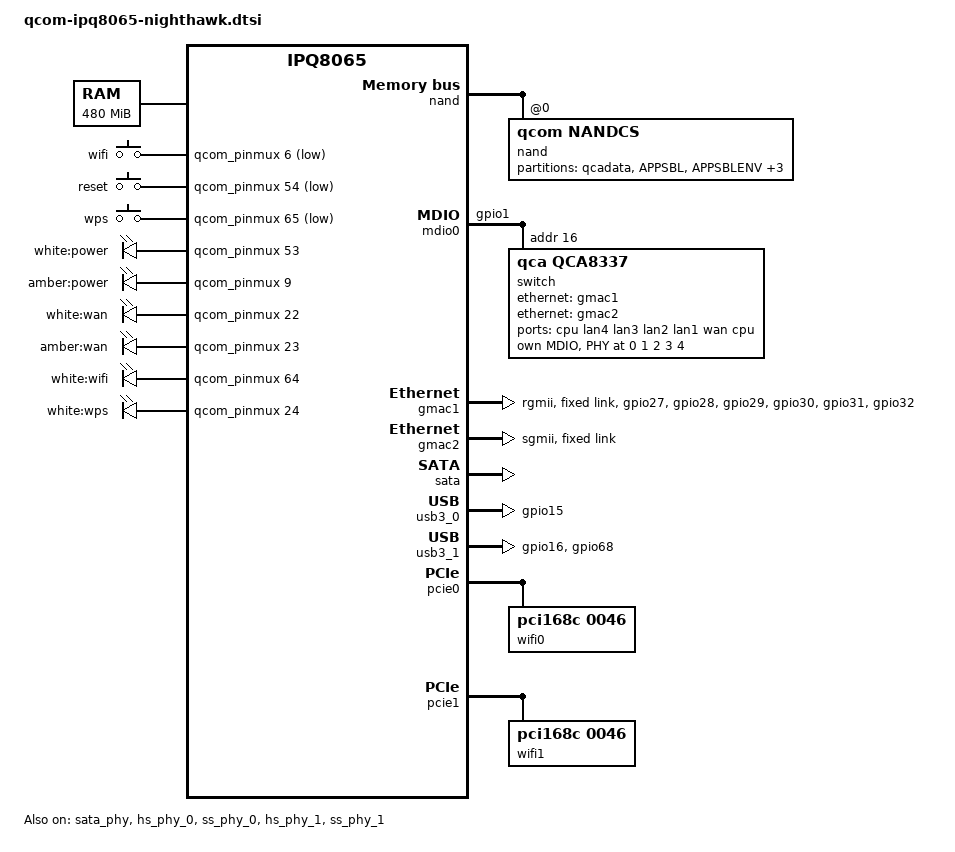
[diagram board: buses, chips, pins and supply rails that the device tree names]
#include "qcom-ipq8065-smb208.dtsi"

#include <dt-bindings/input/input.h>

/ {
	memory@0 {
		reg = <0x42000000 0x1e000000>;
		device_type = "memory";
	};

	reserved-memory {
		rsvd@5fe00000 {
			reg = <0x5fe00000 0x200000>;
			reusable;
		};

		ramoops@42100000 {
			compatible = "ramoops";
			reg = <0x42100000 0x40000>;
			record-size = <0x4000>;
			console-size = <0x4000>;
			ftrace-size = <0x4000>;
			pmsg-size = <0x4000>;
		};
	};

	aliases {
		label-mac-device = &gmac2;

		led-boot = &power_white;
		led-failsafe = &power_amber;
		led-running = &power_white;
		led-upgrade = &power_amber;

		mdio-gpio0 = &mdio0;
	};

	keys {
		compatible = "gpio-keys";
		pinctrl-0 = <&button_pins>;
		pinctrl-names = "default";

		wifi {
			label = "wifi";
			gpios = <&qcom_pinmux 6 GPIO_ACTIVE_LOW>;
			linux,code = <KEY_RFKILL>;
			debounce-interval = <60>;
			wakeup-source;
		};

		reset {
			label = "reset";
			gpios = <&qcom_pinmux 54 GPIO_ACTIVE_LOW>;
			linux,code = <KEY_RESTART>;
			debounce-interval = <60>;
			wakeup-source;
		};

		wps {
			label = "wps";
			gpios = <&qcom_pinmux 65 GPIO_ACTIVE_LOW>;
			linux,code = <KEY_WPS_BUTTON>;
			debounce-interval = <60>;
			wakeup-source;
		};
	};

	leds: leds {
		compatible = "gpio-leds";
		pinctrl-0 = <&led_pins>;
		pinctrl-names = "default";

		power_white: power_white {
			label = "white:power";
			gpios = <&qcom_pinmux 53 GPIO_ACTIVE_HIGH>;
			default-state = "keep";
		};

		power_amber: power_amber {
			label = "amber:power";
			gpios = <&qcom_pinmux 9 GPIO_ACTIVE_HIGH>;
		};

		wan_white {
			label = "white:wan";
			gpios = <&qcom_pinmux 22 GPIO_ACTIVE_HIGH>;
		};

		wan_amber {
			label = "amber:wan";
			gpios = <&qcom_pinmux 23 GPIO_ACTIVE_HIGH>;
		};

		wifi {
			label = "white:wifi";
			gpios = <&qcom_pinmux 64 GPIO_ACTIVE_HIGH>;
		};

		wps {
			label = "white:wps";
			gpios = <&qcom_pinmux 24 GPIO_ACTIVE_HIGH>;
		};
	};
};

&qcom_pinmux {
	button_pins: button_pins {
		mux {
			pins = "gpio6", "gpio54", "gpio65";
			function = "gpio";
			drive-strength = <2>;
			bias-pull-up;
		};
	};

	led_pins: led_pins {
		mux {
			pins = "gpio7", "gpio8", "gpio9",
				"gpio22", "gpio23", "gpio24",
				"gpio26", "gpio53", "gpio64";
			function = "gpio";
			drive-strength = <2>;
			bias-pull-down;
		};
	};

	mdio0_pins: mdio0-pins {
		clk {
			pins = "gpio1";
			input-disable;
		};
	};

	rgmii2_pins: rgmii2-pins {
		tx {
			pins = "gpio27", "gpio28", "gpio29",
				"gpio30", "gpio31", "gpio32";
			input-disable;
		};
	};

	spi_pins: spi_pins {
		mux {
			pins = "gpio18", "gpio19", "gpio21";
			function = "gsbi5";
			bias-pull-down;
		};

		data {
			pins = "gpio18", "gpio19";
			drive-strength = <10>;
		};

		cs {
			pins = "gpio20";
			drive-strength = <10>;
			bias-pull-up;
		};

		clk {
			pins = "gpio21";
			drive-strength = <12>;
		};
	};

	spi6_pins: spi6_pins {
		mux {
			pins = "gpio55", "gpio56", "gpio58";
			function = "gsbi6";
			bias-pull-down;
		};

		mosi {
			pins = "gpio55";
			drive-strength = <12>;
		};

		miso {
			pins = "gpio56";
			drive-strength = <14>;
		};

		cs {
			pins = "gpio57";
			drive-strength = <12>;
			bias-pull-up;
		};

		clk {
			pins = "gpio58";
			drive-strength = <12>;
		};

		reset {
			pins = "gpio33";
			drive-strength = <10>;
			bias-pull-down;
			output-high;
		};
	};

	usb0_pwr_en_pins: usb0_pwr_en_pins {
		mux {
			pins = "gpio15";
			function = "gpio";
			drive-strength = <12>;
			bias-pull-down;
			output-high;
		};
	};

	usb1_pwr_en_pins: usb1_pwr_en_pins {
		mux {
			pins = "gpio16", "gpio68";
			function = "gpio";
			drive-strength = <12>;
			bias-pull-down;
			output-high;
		};
	};
};

&nand {
	status = "okay";

	nand@0 {
		reg = <0>;
		compatible = "qcom,nandcs";

		nand-ecc-strength = <4>;
		nand-bus-width = <8>;
		nand-ecc-step-size = <512>;

		nand-is-boot-medium;
		qcom,boot-partitions = <0x0 0x1180000>;

		partitions: partitions {
			compatible = "fixed-partitions";
			#address-cells = <1>;
			#size-cells = <1>;

			partition@0 {
				label = "qcadata";
				reg = <0x0000000 0x0c80000>;
				read-only;
			};

			partition@c80000 {
				label = "APPSBL";
				reg = <0x0c80000 0x0500000>;
				read-only;
			};

			partition@1180000 {
				label = "APPSBLENV";
				reg = <0x1180000 0x0080000>;
				read-only;
			};

			art: partition@1200000 {
				label = "art";
				reg = <0x1200000 0x0140000>;
				read-only;

				nvmem-layout {
					compatible = "fixed-layout";
					#address-cells = <1>;
					#size-cells = <1>;

					macaddr_art_0: macaddr@0 {
						reg = <0x0 0x6>;
					};

					macaddr_art_6: macaddr@6 {
						compatible = "mac-base";
						reg = <0x6 0x6>;
						#nvmem-cell-cells = <1>;
					};

					macaddr_art_c: macaddr@c {
						reg = <0xc 0x6>;
					};

					precal_art_1000: precal@1000 {
						reg = <0x1000 0x2f20>;
					};

					precal_art_5000: precal@5000 {
						reg = <0x5000 0x2f20>;
					};
				};
			};

			partition@1340000 {
				label = "artbak";
				reg = <0x1340000 0x0140000>;
				read-only;
			};

			partition@1480000 {
				label = "kernel";
				reg = <0x1480000 0x0400000>;
			};
		};
	};
};

&mdio0 {
	status = "okay";

	pinctrl-0 = <&mdio0_pins>;
	pinctrl-names = "default";

	switch@10 {
		compatible = "qca,qca8337";
		#address-cells = <1>;
		#size-cells = <0>;
		reg = <0x10>;

		ports {
			#address-cells = <1>;
			#size-cells = <0>;

			port@0 {
				reg = <0>;
				label = "cpu";
				ethernet = <&gmac1>;
				phy-mode = "rgmii";
				tx-internal-delay-ps = <1000>;
				rx-internal-delay-ps = <1000>;

				fixed-link {
					speed = <1000>;
					full-duplex;
				};
			};

			port@1 {
				reg = <1>;
				label = "lan4";
				phy-mode = "internal";
				phy-handle = <&phy_port1>;
			};

			port@2 {
				reg = <2>;
				label = "lan3";
				phy-mode = "internal";
				phy-handle = <&phy_port2>;
			};

			port@3 {
				reg = <3>;
				label = "lan2";
				phy-mode = "internal";
				phy-handle = <&phy_port3>;
			};

			port@4 {
				reg = <4>;
				label = "lan1";
				phy-mode = "internal";
				phy-handle = <&phy_port4>;
			};

			port@5 {
				reg = <5>;
				label = "wan";
				phy-mode = "internal";
				phy-handle = <&phy_port5>;
			};

			port@6 {
				reg = <6>;
				label = "cpu";
				ethernet = <&gmac2>;
				phy-mode = "sgmii";
				qca,sgmii-enable-pll;

				fixed-link {
					speed = <1000>;
					full-duplex;
				};
			};
		};

		mdio {
			#address-cells = <1>;
			#size-cells = <0>;

			phy_port1: phy@0 {
				reg = <0>;
			};

			phy_port2: phy@1 {
				reg = <1>;
			};

			phy_port3: phy@2 {
				reg = <2>;
			};

			phy_port4: phy@3 {
				reg = <3>;
			};

			phy_port5: phy@4 {
				reg = <4>;
			};
		};
	};
};

&gmac1 {
	status = "okay";

	phy-mode = "rgmii";
	qcom,id = <1>;
	qcom,phy_mdio_addr = <4>;
	qcom,poll_required = <0>;
	qcom,rgmii_delay = <1>;
	qcom,phy_mii_type = <0>;
	qcom,emulation = <0>;
	qcom,irq = <255>;
	mdiobus = <&mdio0>;

	pinctrl-0 = <&rgmii2_pins>;
	pinctrl-names = "default";

	nvmem-cells = <&macaddr_art_6 0>;
	nvmem-cell-names = "mac-address";

	fixed-link {
		speed = <1000>;
		full-duplex;
	};
};

&gmac2 {
	status = "okay";

	phy-mode = "sgmii";
	qcom,id = <2>;
	qcom,phy_mdio_addr = <0>;	/* none */
	qcom,poll_required = <0>;	/* no polling */
	qcom,rgmii_delay = <0>;
	qcom,phy_mii_type = <1>;
	qcom,emulation = <0>;
	qcom,irq = <258>;
	mdiobus = <&mdio0>;

	nvmem-cells = <&macaddr_art_0>;
	nvmem-cell-names = "mac-address";

	fixed-link {
		speed = <1000>;
		full-duplex;
	};
};

&adm_dma {
	status = "okay";
};

&sata_phy {
	status = "okay";
};

&sata {
	status = "okay";
};

&hs_phy_0 {
	status = "okay";
};

&ss_phy_0 {
	status = "okay";
};

&usb3_0 {
	status = "okay";

	pinctrl-0 = <&usb0_pwr_en_pins>;
	pinctrl-names = "default";
};

&hs_phy_1 {
	status = "okay";
};

&ss_phy_1 {
	status = "okay";
};

&usb3_1 {
	status = "okay";

	pinctrl-0 = <&usb1_pwr_en_pins>;
	pinctrl-names = "default";
};

&pcie0 {
	status = "okay";

	bridge@0,0 {
		reg = <0x00000000 0 0 0 0>;
		#address-cells = <3>;
		#size-cells = <2>;
		ranges;

		wifi0: wifi@1,0 {
			compatible = "pci168c,0046";
			reg = <0x00010000 0 0 0 0>;
		};
	};
};

&pcie1 {
	status = "okay";

	max-link-speed = <1>;

	bridge@0,0 {
		reg = <0x00000000 0 0 0 0>;
		#address-cells = <3>;
		#size-cells = <2>;
		ranges;

		wifi1: wifi@1,0 {
			compatible = "pci168c,0046";
			reg = <0x00010000 0 0 0 0>;
		};
	};
};
